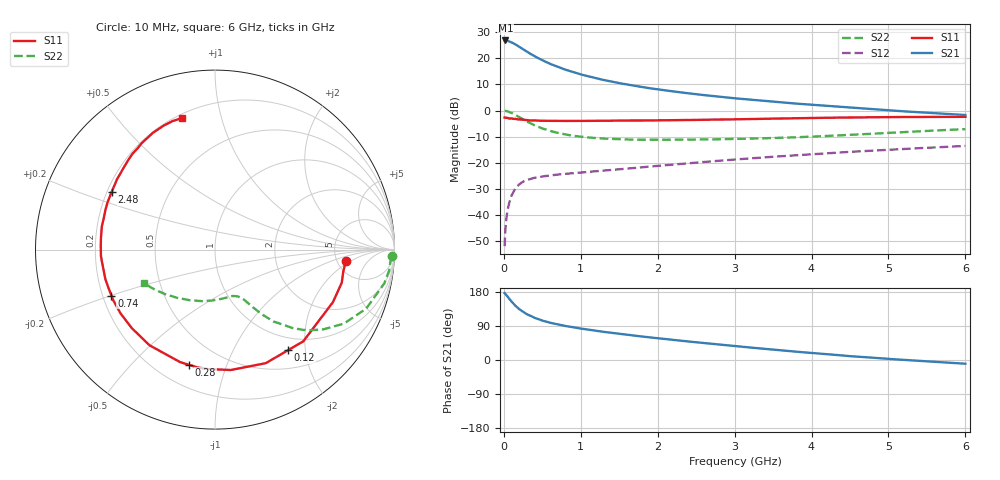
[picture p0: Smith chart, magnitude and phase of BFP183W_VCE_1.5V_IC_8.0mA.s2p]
! Infineon Technologies  Discrete & RF Semiconductors
! BFP183W
! VCE = 1.5 V,  IC =  8.0 mA
! Common Emitter S-Parameters:  Jan 2016
# GHz  S  MA  R  50
!  f  S11  S21  S12  S22
! GHz  MAG  ANG  MAG  ANG  MAG  ANG  MAG  ANG
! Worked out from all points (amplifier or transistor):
!   210 points, 10 MHz to 6 GHz, reference 50 ohm
!   highest |S21| = 26.9 dB at 20 MHz (marker M1)
!   |S21| within 3 dB of that: start of sweep to 230.5 MHz
!   unconditionally stable (mu >= 1): 1.404 GHz to 5.86 GHz
!   at 185 MHz: K = 0.20, MSG = 26.7 dB, |S12| = -28.8 dB
!   at 1.52 GHz: K = 1.04, MAG = 15.2 dB, |S12| = -22.5 dB
!   at 6 GHz: K = 0.99, MSG = 5.9 dB, |S12| = -13.6 dB
!   S11 on the Smith chart (normalised r, x): 10 MHz: 5.99, -1.64; 120 MHz: 0.78, -1.69; 280 MHz: 0.33, -0.75; 740 MHz: 0.24, -0.20; 2.48 GHz: 0.22, +0.25; 6 GHz: 0.22, +0.76
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0.01  0.7317 -5.0  22.01 176.6  0.0025 89.6  0.9844 -2.2
0.02  0.7253 -9.7  22.05 174.6  0.0052 85.3  0.9786 -4.5
0.03  0.7299 -14.7  22.04 172.0  0.0077 84.7  0.9776 -6.8
0.055  0.7135 -26.2  21.51 165.3  0.0136 77.2  0.9548 -12.2
0.1  0.7093 -46.1  20.33 154.2  0.0233 68.2  0.9043 -21.3
0.12  0.6928 -53.9  19.55 150.0  0.0267 64.4  0.8714 -24.6
0.15  0.6931 -65.9  18.6 143.1  0.032 60.2  0.8278 -29.9
0.2  0.6766 -82.5  16.68 134.1  0.0383 53.4  0.7492 -36.4
0.28  0.6581 -102.7  13.99 123.3  0.0452 45.8  0.6399 -43.7
0.3  0.6564 -107.2  13.37 120.7  0.0465 44.3  0.6151 -45.3
0.4  0.646 -124.4  10.96 111.2  0.0512 39.0  0.519 -50.7
0.5  0.6374 -136.7  9.185 104.0  0.0544 36.5  0.4527 -53.7
0.6  0.6351 -146.0  7.858 98.4  0.0567 34.8  0.4057 -55.8
0.74  0.6314 -156.0  6.555 92.4  0.0598 34.4  0.3621 -57.7
1.02  0.6314 -170.0  4.835 82.4  0.0648 35.1  0.3122 -60.9
1.42  0.6375 176.2  3.535 71.1  0.0729 37.4  0.2845 -65.7
2.02  0.6486 160.6  2.521 57.0  0.087 40.9  0.2743 -74.8
2.48  0.6594 150.8  2.07 47.2  0.0995 42.0  0.2768 -83.3
3.1  0.6811 139.1  1.667 35.0  0.1177 41.9  0.2863 -96.0
4.1  0.7225 123.3  1.258 17.0  0.1484 39.5  0.3198 -119.2
5.1  0.7486 111.6  0.985 1.6  0.1796 35.2  0.3794 -140.4
6  0.7558 103.9  0.82 -9.8  0.209 30.7  0.4396 -154.9
